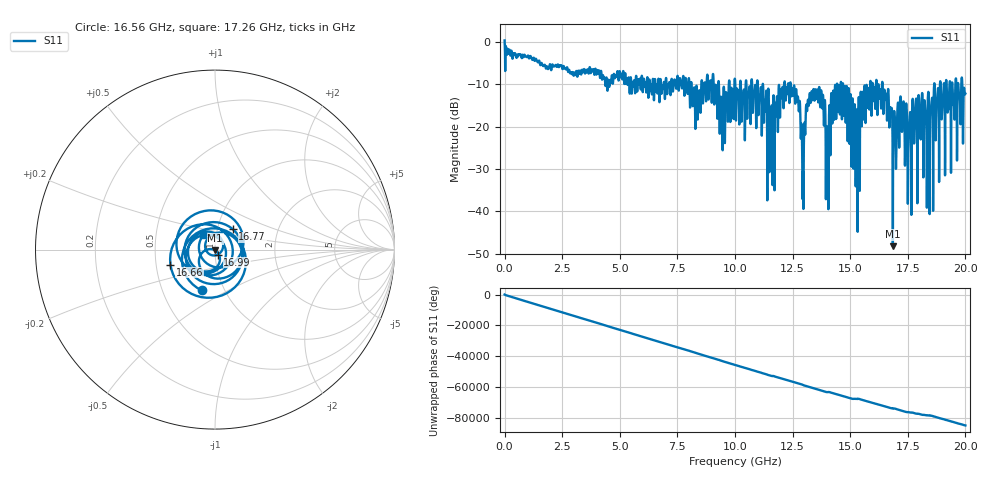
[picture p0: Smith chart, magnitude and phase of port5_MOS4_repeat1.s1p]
! MS46122B
! 2250307/22442219
! 7/22/2025 3:26:42 PM
! C:\USERS\SPARKY\DOCUMENTS\VNA_DATA\JULY22_2025\295\PORT5_MOS4_REPEAT1.S1P
! CHANNEL.1
! TR.MEASUREMENT
! RAW.DATA
# GHZ S RI R 50.0
! FREQ.GHZ  S11RE  S11IM
!; PortSelection: Port_1
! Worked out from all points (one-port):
!   10001 points, 1 MHz to 20 GHz, reference 50 ohm
!   lowest |S11| = -48.3 dB at 16.85 GHz (marker M1), VSWR 1.01, Z = 50.1 - j0.379 ohm
!   |S11| at or under -10 dB: 12.42 GHz to 14.43 GHz (2.008 GHz wide, 15 % of centre); 14.69 GHz to 15.86 GHz (1.173 GHz wide, 7.68 % of centre); 16.41 GHz to 18.64 GHz (2.237 GHz wide, 12.8 % of centre) (the widest 3 of 66)
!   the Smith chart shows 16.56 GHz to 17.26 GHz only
!   S11 on the Smith chart (normalised r, x): 16.56 GHz: 0.78, -0.38; 16.66 GHz: 0.60, -0.11; 16.77 GHz: 1.19, +0.28; 16.99 GHz: 1.03, -0.06; 17.26 GHz: 0.87, +0.14
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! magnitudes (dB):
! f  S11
! 1 MHz  0.4
! 2.501 GHz  -6.1
! 5.001 GHz  -6.9
! 7.501 GHz  -8.0
! 8.349 GHz  -11.8
! 8.979 GHz  -12.3
! 9.407 GHz  -13.0
! 10 GHz  -8.8
! 11.04 GHz  -13.2
! 11.57 GHz  -19.2
! 12.5 GHz  -11.3
! 12.74 GHz  -13.1
! 12.95 GHz  -30.6
! 13.33 GHz  -11.6
! 13.74 GHz  -11.4
! 14.04 GHz  -26.6
! 14.35 GHz  -10.1
! 15 GHz  -13.9
! 15.24 GHz  -29.8
! 15.79 GHz  -10.8
! 16.56 GHz  -12.4
! 16.66 GHz  -11.6
! 16.77 GHz  -16.4
! 16.85 GHz  -48.3
! 16.99 GHz  -30.0
! 17.26 GHz  -19.6
! 17.5 GHz  -37.1
! 20 GHz  -12.2
